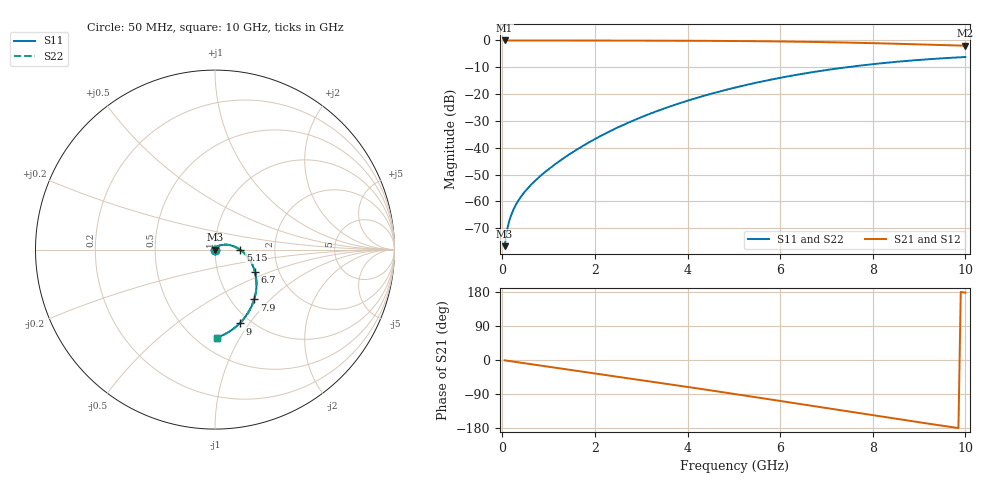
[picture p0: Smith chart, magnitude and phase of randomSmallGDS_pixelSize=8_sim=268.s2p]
! freq	dB(S11)	phase(S11)	dB(S12)	phase(S12)
!  dB(S21)	phase(S21)	dB(S22)	phase(S22)
!S-par simulation data
#  GHz  S  DB  R 50
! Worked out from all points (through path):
!   200 points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, 50 MHz to 10 GHz, reference 50 ohm
!   highest |S21| = 0.00 dB at 50 MHz (marker M1); lowest = -2.0 dB at 10 GHz (marker M2)
!   group delay of S21, straight-line fit = 51 ps
!   lowest |S11| = -76.7 dB at 50 MHz (marker M3), VSWR 1.00, Z = 50 + j0.0141 ohm
!   |S11| at or under -10 dB: start of sweep to 7.435 GHz
!   |S22| runs from -76.7 to -6.2 dB; largest |S21 - S12| = 0
!   S11 on the Smith chart (normalised r, x): 50 MHz: 1.00, +0.00; 5.15 GHz: 1.33, -0.00; 6.7 GHz: 1.51, -0.41; 7.9 GHz: 1.27, -0.81; 9 GHz: 0.89, -0.90; 10 GHz: 0.62, -0.80
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0.05  -76.73 76.1  -0.00 -0.9  -0.00 -0.9  -76.73 76.1
0.1  -70.86 82.1  -0.00 -1.8  -0.00 -1.8  -70.86 82.1
0.15  -67.33 83.7  -0.00 -2.7  -0.00 -2.7  -67.33 83.7
0.2  -64.78 84.3  -0.00 -3.5  -0.00 -3.5  -64.78 84.3
0.3  -61.09 84.2  -0.00 -5.3  -0.00 -5.3  -61.09 84.2
0.45  -57.20 83.1  -0.01 -7.9  -0.01 -7.9  -57.20 83.1
0.65  -53.32 80.8  -0.01 -11.5  -0.01 -11.5  -53.32 80.9
0.95  -48.71 76.6  -0.02 -16.7  -0.02 -16.7  -48.71 76.7
1.35  -43.62 70.1  -0.03 -23.7  -0.03 -23.7  -43.61 70.2
1.75  -39.23 63.0  -0.03 -30.7  -0.03 -30.7  -39.23 63.1
2.55  -32.01 48.1  -0.05 -44.9  -0.05 -44.9  -32.00 48.2
3.4  -25.97 32.2  -0.08 -60.1  -0.08 -60.1  -25.97 32.2
4.25  -21.17 16.4  -0.13 -75.5  -0.13 -75.5  -21.17 16.4
5.05  -17.48 1.4  -0.21 -90.3  -0.21 -90.3  -17.48 1.5
5.15  -17.06 -0.4  -0.22 -92.2  -0.22 -92.2  -17.06 -0.4
5.9  -14.27 -14.5  -0.35 -106.2  -0.35 -106.2  -14.27 -14.5
6.7  -11.82 -29.6  -0.54 -121.4  -0.54 -121.4  -11.82 -29.5
7.3  -10.31 -40.8  -0.73 -132.7  -0.73 -132.7  -10.31 -40.7
7.9  -9.03 -51.9  -0.96 -144.0  -0.96 -144.0  -9.03 -51.8
8.35  -8.23 -60.0  -1.16 -152.4  -1.16 -152.4  -8.22 -60.0
9  -7.26 -71.6  -1.46 -164.4  -1.46 -164.4  -7.26 -71.6
10  -6.18 -88.9  -1.96 177.7  -1.96 177.7  -6.18 -88.8
